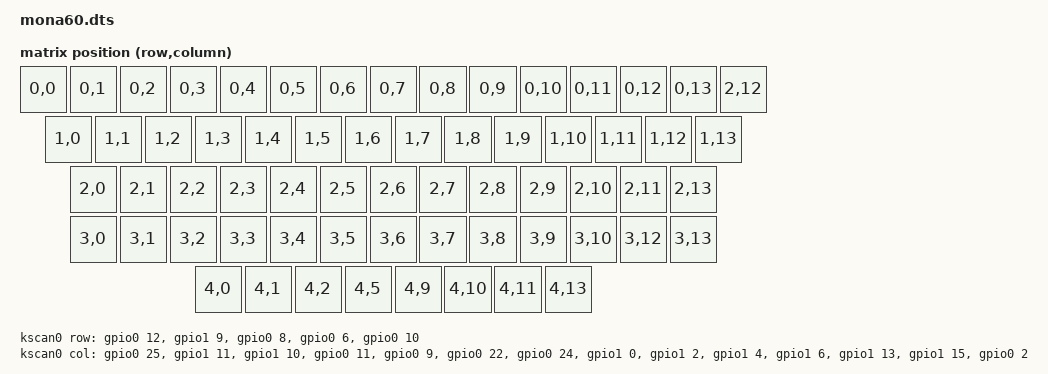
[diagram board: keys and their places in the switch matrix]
/dts-v1/;
#include "mona60.dtsi"
#include "hhkb.dtsi"

/ {
    chosen {
        zmk,battery = &vbatt;
        zmk,underglow = &led_strip;
        zephyr,display = &oled;
        zmk,kscan = &kscan0;
        zmk,physical-layout = &layout_60_hhkb;
    };

    // Node name must match original "EXT_POWER" label to preserve user settings.
    EXT_POWER {
        compatible = "zmk,ext-power-generic";
        control-gpios = <&gpio0 29 GPIO_ACTIVE_LOW>;
    };
    vbatt: vbatt {
        compatible = "zmk,battery-voltage-divider";
        io-channels = <&adc 2>;
        output-ohms = <2000000>;
        full-ohms = <(2000000 + 806000)>;
    };

    kscan0: kscan {
        compatible = "zmk,kscan-gpio-matrix";
        wakeup-source;

        diode-direction = "col2row";
        row-gpios
            = <&gpio0 12 (GPIO_ACTIVE_HIGH | GPIO_PULL_DOWN)>
            , <&gpio1 9 (GPIO_ACTIVE_HIGH | GPIO_PULL_DOWN)>
            , <&gpio0 8 (GPIO_ACTIVE_HIGH | GPIO_PULL_DOWN)>
            , <&gpio0 6 (GPIO_ACTIVE_HIGH | GPIO_PULL_DOWN)>
            , <&gpio0 10 (GPIO_ACTIVE_HIGH | GPIO_PULL_DOWN)>
            ;
        col-gpios
            = <&gpio0 25 GPIO_ACTIVE_HIGH>
            , <&gpio1 11 GPIO_ACTIVE_HIGH>
            , <&gpio1 10 GPIO_ACTIVE_HIGH>
            , <&gpio0 11 GPIO_ACTIVE_HIGH>
            , <&gpio0 9 GPIO_ACTIVE_HIGH>
            , <&gpio0 22 GPIO_ACTIVE_HIGH>
            , <&gpio0 24 GPIO_ACTIVE_HIGH>
            , <&gpio1 0 GPIO_ACTIVE_HIGH>
            , <&gpio1 2 GPIO_ACTIVE_HIGH>
            , <&gpio1 4 GPIO_ACTIVE_HIGH>
            , <&gpio1 6 GPIO_ACTIVE_HIGH>
            , <&gpio1 13 GPIO_ACTIVE_HIGH>
            , <&gpio1 15 GPIO_ACTIVE_HIGH>
            , <&gpio0 2 GPIO_ACTIVE_HIGH>
            ;
    };

    default_transform: keymap_transform_0 {
        compatible = "zmk,matrix-transform";
        columns = <14>;
        rows = <5>;
// | MX1  | MX2  | MX3  | MX4  | MX5  | MX6  | MX7  | MX8  | MX9  | MX10 | MX11 | MX12 | MX13 | MX14 | MX62 |
// |   MX15   | MX16 | MX17 | MX18 | MX19 | MX20 | MX21 | MX22 | MX23 | MX24 | MX25 | MX26 | MX27 |  MX28   |
// |    MX29    | MX30 | MX31 | MX32 | MX33 | MX34 | MX35 | MX36 | MX37 | MX38 | MX39 | MX40 |     MX41     |
// |     MX42      | MX43 | MX44 | MX45 | MX46 | MX47 | MX48 | MX49 | MX50 | MX51 | MX52 |    MX53   | MX63 |
// |  MX54  |  MX55  |  MX56  |                  MX57                   |  MX58  |  MX59  |  MX60  |  MX61  |
        map = <
RC(0,0) RC(0,1) RC(0,2) RC(0,3) RC(0,4) RC(0,5) RC(0,6) RC(0,7) RC(0,8) RC(0,9) RC(0,10) RC(0,11) RC(0,12) RC(0,13) RC(2,12)
RC(1,0)   RC(1,1) RC(1,2) RC(1,3) RC(1,4) RC(1,5) RC(1,6) RC(1,7) RC(1,8) RC(1,9) RC(1,10) RC(1,11) RC(1,12)   RC(1,13)
RC(2,0)     RC(2,1) RC(2,2) RC(2,3) RC(2,4) RC(2,5) RC(2,6) RC(2,7) RC(2,8) RC(2,9) RC(2,10) RC(2,11)          RC(2,13)
RC(3,0)       RC(3,1) RC(3,2) RC(3,3) RC(3,4) RC(3,5) RC(3,6) RC(3,7) RC(3,8) RC(3,9)    RC(3,10)   RC(3,12)   RC(3,13)
RC(4,0)   RC(4,1)   RC(4,2)                      RC(4,5)                       RC(4,9)   RC(4,10)   RC(4,11)   RC(4,13)
        >;
    };
};



&i2c0 {
    compatible = "nordic,nrf-twi";
    pinctrl-0 = <&i2c0_default>;
    pinctrl-1 = <&i2c0_sleep>;
    pinctrl-names = "default", "sleep";
    status = "okay";

    oled: ssd1306@3c {
        compatible = "solomon,ssd1306fb";
        reg = <0x3c>;
        width = <128>;
        height = <32>;
        segment-offset = <0>;
        page-offset = <0>;
        display-offset = <0>;
        multiplex-ratio = <31>;
        segment-remap;
        com-invdir;
        com-sequential;
        inversion-on;
        prechargep = <0x22>;
    };
};

&spi3 {
    compatible = "nordic,nrf-spim";

    pinctrl-0 = <&spi3_default>;
    pinctrl-1 = <&spi3_sleep>;
    pinctrl-names = "default", "sleep";
    status = "okay";

    led_strip: ws2812@0 {
        compatible = "worldsemi,ws2812-spi";

        /* SPI */
        reg = <0>; /* ignored, but necessary for SPI bindings */
        spi-max-frequency = <4000000>;

        /* WS2812 */
        chain-length = <2>; /* LED strip length */
        spi-one-frame = <0x70>;
        spi-zero-frame = <0x40>;
        color-mapping = <LED_COLOR_ID_GREEN LED_COLOR_ID_RED LED_COLOR_ID_BLUE>;
    };
};

&layout_60_hhkb {
    transform = <&default_transform>;
};
